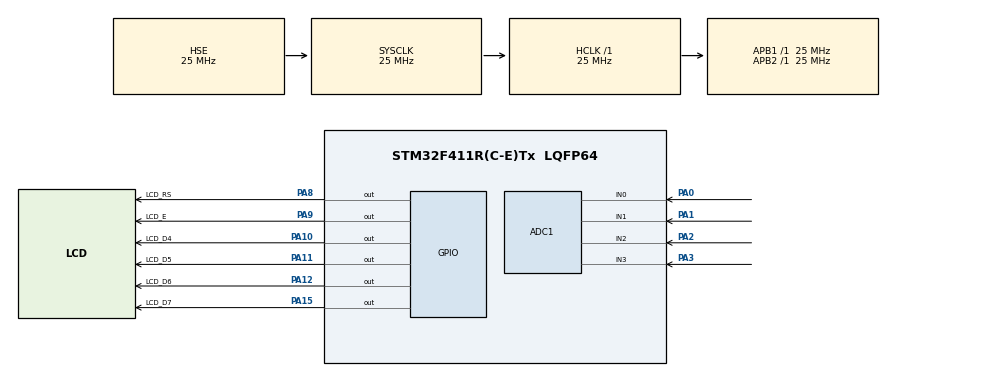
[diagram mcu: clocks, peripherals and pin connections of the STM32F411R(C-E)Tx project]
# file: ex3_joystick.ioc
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ADC1.Channel-0\#ChannelRegularConversion=ADC_CHANNEL_0
ADC1.Channel-1\#ChannelRegularConversion=ADC_CHANNEL_1
ADC1.Channel-2\#ChannelRegularConversion=ADC_CHANNEL_2
ADC1.Channel-3\#ChannelRegularConversion=ADC_CHANNEL_3
ADC1.ContinuousConvMode=ENABLE
ADC1.DMAContinuousRequests=ENABLE
ADC1.EOCSelection=ADC_EOC_SEQ_CONV
ADC1.NbrOfConversion=4
ADC1.NbrOfConversionFlag=1
ADC1.Rank-0\#ChannelRegularConversion=1
ADC1.Rank-1\#ChannelRegularConversion=2
ADC1.Rank-2\#ChannelRegularConversion=3
ADC1.Rank-3\#ChannelRegularConversion=4
ADC1.SamplingTime-0\#ChannelRegularConversion=ADC_SAMPLETIME_112CYCLES
ADC1.SamplingTime-1\#ChannelRegularConversion=ADC_SAMPLETIME_112CYCLES
ADC1.SamplingTime-2\#ChannelRegularConversion=ADC_SAMPLETIME_112CYCLES
ADC1.SamplingTime-3\#ChannelRegularConversion=ADC_SAMPLETIME_112CYCLES
ADC1.master=1
Dma.ADC1.0.Direction=DMA_PERIPH_TO_MEMORY
Dma.ADC1.0.FIFOMode=DMA_FIFOMODE_DISABLE
Dma.ADC1.0.Instance=DMA2_Stream0
Dma.ADC1.0.MemDataAlignment=DMA_MDATAALIGN_HALFWORD
Dma.ADC1.0.MemInc=DMA_MINC_ENABLE
Dma.ADC1.0.Mode=DMA_CIRCULAR
Dma.ADC1.0.PeriphDataAlignment=DMA_PDATAALIGN_HALFWORD
Dma.ADC1.0.PeriphInc=DMA_PINC_DISABLE
Dma.ADC1.0.Priority=DMA_PRIORITY_LOW
Dma.Request0=ADC1
Mcu.Family=STM32F4
Mcu.Name=STM32F411R(C-E)Tx
Mcu.Package=LQFP64
NVIC.ADC_IRQn=true\:0\:0\:false\:false\:true\:true\:true\:true
NVIC.DMA2_Stream0_IRQn=true\:0\:0\:false\:false\:true\:false\:true\:true
NVIC.PriorityGroup=NVIC_PRIORITYGROUP_4
PA0-WKUP.Signal=ADCx_IN0
PA1.Signal=ADCx_IN1
PA10.GPIO_Label=LCD_D4
PA10.GPIO_ModeDefaultOutputPP=GPIO_MODE_OUTPUT_PP
PA10.GPIO_Speed=GPIO_SPEED_FREQ_VERY_HIGH
PA10.PinState=GPIO_PIN_RESET
PA10.Signal=GPIO_Output
PA11.GPIO_Label=LCD_D5
PA11.GPIO_ModeDefaultOutputPP=GPIO_MODE_OUTPUT_PP
PA11.GPIO_Speed=GPIO_SPEED_FREQ_VERY_HIGH
PA11.PinState=GPIO_PIN_RESET
PA11.Signal=GPIO_Output
PA12.GPIO_Label=LCD_D6
PA12.GPIO_ModeDefaultOutputPP=GPIO_MODE_OUTPUT_PP
PA12.GPIO_Speed=GPIO_SPEED_FREQ_VERY_HIGH
PA12.PinState=GPIO_PIN_RESET
PA12.Signal=GPIO_Output
PA13.Mode=Serial_Wire
PA13.Signal=SYS_JTMS-SWDIO
PA14.Mode=Serial_Wire
PA14.Signal=SYS_JTCK-SWCLK
PA15.GPIO_Label=LCD_D7
PA15.GPIO_ModeDefaultOutputPP=GPIO_MODE_OUTPUT_PP
PA15.GPIO_Speed=GPIO_SPEED_FREQ_VERY_HIGH
PA15.PinState=GPIO_PIN_RESET
PA15.Signal=GPIO_Output
PA2.Signal=ADCx_IN2
PA3.Signal=ADCx_IN3
PA8.GPIO_Label=LCD_RS
PA8.GPIO_ModeDefaultOutputPP=GPIO_MODE_OUTPUT_PP
PA8.GPIO_Speed=GPIO_SPEED_FREQ_VERY_HIGH
PA8.PinState=GPIO_PIN_RESET
PA8.Signal=GPIO_Output
PA9.GPIO_Label=LCD_E
PA9.GPIO_ModeDefaultOutputPP=GPIO_MODE_OUTPUT_PP
PA9.GPIO_Speed=GPIO_SPEED_FREQ_VERY_HIGH
PA9.PinState=GPIO_PIN_RESET
PA9.Signal=GPIO_Output
PH0\ -\ OSC_IN.Mode=HSE-External-Oscillator
PH0\ -\ OSC_IN.Signal=RCC_OSC_IN
PH1\ -\ OSC_OUT.Mode=HSE-External-Oscillator
PH1\ -\ OSC_OUT.Signal=RCC_OSC_OUT
ProjectManager.HeapSize=0x200
ProjectManager.StackSize=0x400
ProjectManager.TargetToolchain=STM32CubeIDE
RCC.AHBFreq_Value=25000000
RCC.APB1Freq_Value=25000000
RCC.APB1TimFreq_Value=25000000
RCC.APB2Freq_Value=25000000
RCC.APB2TimFreq_Value=25000000
RCC.CortexFreq_Value=25000000
RCC.HCLKFreq_Value=25000000
RCC.HSE_VALUE=25000000
RCC.HSI_VALUE=16000000
RCC.LSE_VALUE=32768
RCC.SYSCLKFreq_VALUE=25000000
RCC.SYSCLKSource=RCC_SYSCLKSOURCE_HSE
RCC.VCOOutputFreq_Value=192000000
SH.ADCx_IN0.0=ADC1_IN0,IN0
SH.ADCx_IN1.0=ADC1_IN1,IN1
SH.ADCx_IN2.0=ADC1_IN2,IN2
SH.ADCx_IN3.0=ADC1_IN3,IN3
board=custom

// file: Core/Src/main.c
/* USER CODE BEGIN Header */
/**
  ******************************************************************************
  * @file           : main.c
  * @brief          : Main program body
  ******************************************************************************
  * @attention
  *
  * Copyright (c) 2025 STMicroelectronics.
  * All rights reserved.
  *
  * This software is licensed under terms that can be found in the LICENSE file
  * in the root directory of this software component.
  * If no LICENSE file comes with this software, it is provided AS-IS.
  *
  ******************************************************************************
  */
/* USER CODE END Header */
#include "main.h"
#include "adc.h"
#include "dma.h"
#include "gpio.h"

/* USER CODE BEGIN Includes */
#include <stdint.h>
#include <stdio.h>
#include "lcdDisplay.h"

/* USER CODE END Includes */

/* USER CODE BEGIN PTD */
typedef enum{
	BTN_RIGHT,
	BTN_UP,
	BTN_DOWN,
	BTN_LEFT,
	BTN_SELECT,
	BTN_NONE
} adc_btn_e;

typedef struct{
	float posX;
	float posY;
}joystick_t;

/* USER CODE END PTD */

/* USER CODE BEGIN PD */
#define VREF_P_VOLTAGE		3.3
#define ADC_RESOLUTION		4095.0
/* USER CODE END PD */

/* USER CODE BEGIN PV */
static lcd_t Lcd;
uint8_t adcDmaFlag;
joystick_t joystick1, joystick2;
uint16_t adcBuffer[100][4];
uint16_t adcJoy1X, adcJoy2X, adcJoy1Y, adcJoy2Y;

char adc_btn_str[6][10] = {
		"RIGHT",
		"UP",
		"DOWN",
		"LEFT",
		"SELECT",

		"---"
};

float adc_btn_values[6] = {
		0.55,
		0.11,
		0.3,
		0.009,
		1.14,
		3.3
};
/* USER CODE END PV */

void SystemClock_Config(void);

/* USER CODE BEGIN 0 */

void HAL_ADC_ConvCpltCallback(ADC_HandleTypeDef * hadc){
	adcDmaFlag = 1;
}

void _lcd_init(){
	Lcd.columns = 20;
	Lcd.rows = 4;
	Lcd.gpios[LCD_RS].GPIO = (uint32_t)LCD_RS_GPIO_Port;
	Lcd.gpios[LCD_RS].pin = LCD_RS_Pin;
	Lcd.gpios[LCD_E].GPIO = (uint32_t)LCD_E_GPIO_Port;
	Lcd.gpios[LCD_E].pin = LCD_E_Pin;
	Lcd.gpios[LCD_D4].GPIO = (uint32_t)LCD_D4_GPIO_Port;
	Lcd.gpios[LCD_D4].pin = LCD_D4_Pin;
	Lcd.gpios[LCD_D5].GPIO = (uint32_t)LCD_D5_GPIO_Port;
	Lcd.gpios[LCD_D5].pin = LCD_D5_Pin;
	Lcd.gpios[LCD_D6].GPIO = (uint32_t)LCD_D6_GPIO_Port;
	Lcd.gpios[LCD_D6].pin = LCD_D6_Pin;
	Lcd.gpios[LCD_D7].GPIO = (uint32_t)LCD_D7_GPIO_Port;
	Lcd.gpios[LCD_D7].pin = LCD_D7_Pin;

	lcd_init(&Lcd);

	lcd_send_string_pos(&Lcd, "STM32F411 ESSENTIALS", 0, 0);
	lcd_send_string_pos(&Lcd, "ADC - EX1", 1, 0);
}

adc_btn_e _get_adc_btn(float voltage){
	float _range = 0.05;
	float voltUp, voltDown;
	adc_btn_e btnCheck;

	btnCheck = BTN_RIGHT;
	while(btnCheck < BTN_NONE){
		voltUp = adc_btn_values[btnCheck] + _range;
		voltDown = adc_btn_values[btnCheck] - _range;
		if(voltage >= voltDown && voltage <= voltUp){
			return (adc_btn_e)btnCheck;
		}
		btnCheck++;
	}
	return BTN_NONE;
}

uint16_t _calc_adc_avg(uint16_t *adcRaw, uint32_t n){
	uint32_t sum, i;
	i = 0;
	sum = 0;
	while(i < n){
		sum += adcRaw[i];
		i++;
	}
	sum /= n;

	return (uint16_t)sum;
}

void _joystickCalc (joystick_t *joy, uint32_t adcX, uint32_t adcY){
	//Point 0: x = 0, -100 | x=adc_Res y = +100
	float axisX, axisY;

	axisX = (200*adcX/ADC_RESOLUTION) - 100;
	axisY = (200*adcY/ADC_RESOLUTION) - 100;

	joy->posX = (float) axisX/100.0;
	joy->posY = (float) axisY/100.0;
}

void _joyCalcAvg(uint32_t n){
	uint32_t i, sumX1, sumX2, sumY1, sumY2;

	sumX1 = 0;
	sumX2 = 0;
	sumY1 = 0;
	sumY2 = 0;

	for(i = 0; i < n; i++){
		sumX1 += adcBuffer[i][0];
		sumY1 += adcBuffer[i][1];
		sumX2 += adcBuffer[i][2];
		sumY2 += adcBuffer[i][3];
	}

	adcJoy1X = sumX1 / n;
	adcJoy2X = sumX2 / n;
	adcJoy1Y = sumY1 / n;
	adcJoy2Y = sumY2 / n;

}
/* USER CODE END 0 */

int main(void)
{

  /* USER CODE BEGIN 1 */

	char text[21];
  /* USER CODE END 1 */

  /* MCU Configuration--------------------------------------------------------*/

  /* Reset of all peripherals, Initializes the Flash interface and the Systick. */
  HAL_Init();

  /* Configure the system clock */
  SystemClock_Config();

  /* Initialize all configured peripherals */
  MX_GPIO_Init();
  MX_DMA_Init();
  MX_ADC1_Init();
  /* USER CODE BEGIN 2 */
  HAL_Delay(200);
  _lcd_init();
  /* USER CODE END 2 */

  /* Infinite loop */
  /* USER CODE BEGIN WHILE */
  HAL_ADC_Start_DMA(&hadc1, (uint32_t *)adcBuffer, 400);
  adcDmaFlag = 0;
  while (1)
  {
	  if(adcDmaFlag == 1){
		  _joyCalcAvg(100);
		  _joystickCalc(&joystick1, adcJoy1X, adcJoy1Y);
		  _joystickCalc(&joystick2, adcJoy2X, adcJoy2Y);

		  sprintf(text, ">> joy1: x%.2f y%.2f", joystick1.posX, joystick1.posY);
		  lcd_clear_row(&Lcd, 2);
		  lcd_send_string_pos(&Lcd, text, 2, 0);

		  sprintf(text, ">> joy1: x%.2f y%.2f", joystick2.posX, joystick2.posY);
		  lcd_clear_row(&Lcd, 3);
		  lcd_send_string_pos(&Lcd, text, 3, 0);

	  }

    /* USER CODE END WHILE */

  }
}

void SystemClock_Config(void)
{
  RCC_OscInitTypeDef RCC_OscInitStruct = {0};
  RCC_ClkInitTypeDef RCC_ClkInitStruct = {0};

  /** Configure the main internal regulator output voltage
  */
  __HAL_RCC_PWR_CLK_ENABLE();
  __HAL_PWR_VOLTAGESCALING_CONFIG(PWR_REGULATOR_VOLTAGE_SCALE1);

  /** Initializes the RCC Oscillators according to the specified parameters
  * in the RCC_OscInitTypeDef structure.
  */
  RCC_OscInitStruct.OscillatorType = RCC_OSCILLATORTYPE_HSE;
  RCC_OscInitStruct.HSEState = RCC_HSE_ON;
  RCC_OscInitStruct.PLL.PLLState = RCC_PLL_NONE;
  if (HAL_RCC_OscConfig(&RCC_OscInitStruct) != HAL_OK)
  {
    Error_Handler();
  }

  /** Initializes the CPU, AHB and APB buses clocks
  */
  RCC_ClkInitStruct.ClockType = RCC_CLOCKTYPE_HCLK|RCC_CLOCKTYPE_SYSCLK
                              |RCC_CLOCKTYPE_PCLK1|RCC_CLOCKTYPE_PCLK2;
  RCC_ClkInitStruct.SYSCLKSource = RCC_SYSCLKSOURCE_HSE;
  RCC_ClkInitStruct.AHBCLKDivider = RCC_SYSCLK_DIV1;
  RCC_ClkInitStruct.APB1CLKDivider = RCC_HCLK_DIV1;
  RCC_ClkInitStruct.APB2CLKDivider = RCC_HCLK_DIV1;

  if (HAL_RCC_ClockConfig(&RCC_ClkInitStruct, FLASH_LATENCY_0) != HAL_OK)
  {
    Error_Handler();
  }
}

void Error_Handler(void)
{
  __disable_irq();
  while (1)
  {
  }
}
